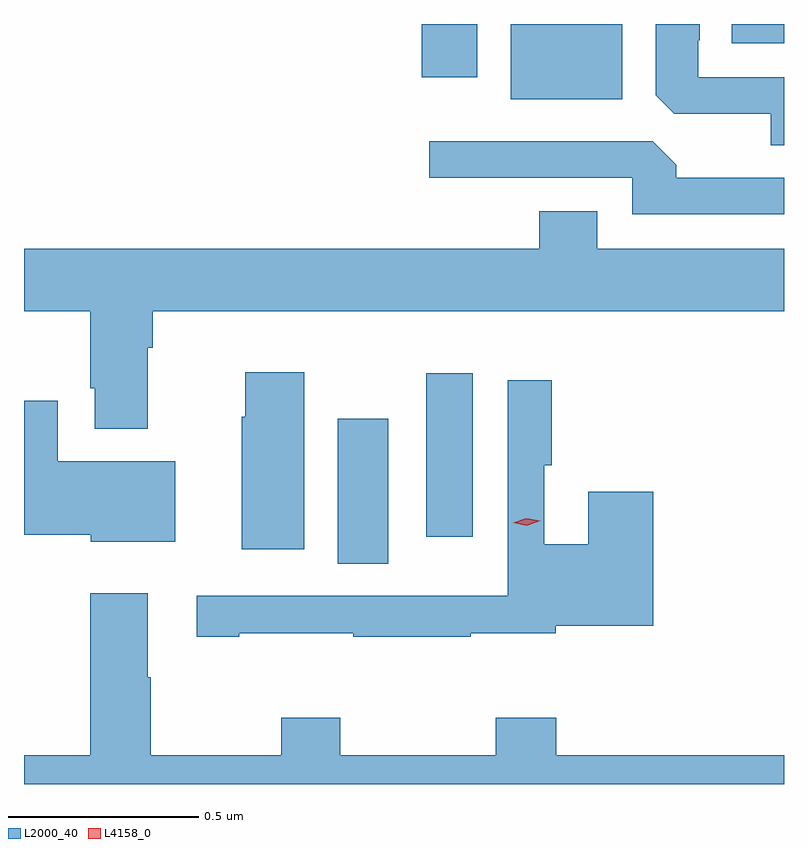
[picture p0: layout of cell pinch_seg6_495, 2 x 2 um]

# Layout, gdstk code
import gdstk
lib = gdstk.Library(unit=1e-6, precision=1e-09)
def R(c, l, rs):  # rectangles x0, y0, x1, y1
    for r in rs: c.add(gdstk.rectangle(r[:2], r[2:], *l))
def P(c, l, *ps):  # polygons
    for p in ps: c.add(gdstk.Polygon(p, *l))
L2000_40 = (2000, 40)
L4158_0 = (4158, 0)

pinch_seg6_495 = lib.new_cell('pinch_seg6_495')
R(pinch_seg6_495, L2000_40, [(832.016,944.008,832.15,944.389), (832.25,944.079,832.372,944.509), (832.472,945.23,832.765,945.428), (832.238,945.288,832.384,945.428), (833.054,945.377,833.191,945.428)])
P(pinch_seg6_495, L2000_40, [(833.191,945.288),(832.965,945.288),(832.965,945.385),(832.969,945.385),(832.969,945.428),(832.853,945.428),(832.853,945.241),(832.902,945.192),(833.156,945.192),(833.156,945.109),(833.191,945.109)],
  [(833.191,945.024),(832.907,945.024),(832.907,945.058),(832.845,945.12),(832.257,945.12),(832.257,945.024),(832.791,945.024),(832.791,944.928),(833.191,944.928)],
  [(831.517,944.576),(831.53,944.576),(831.53,944.672),(833.191,944.672),(833.191,944.836),(832.699,944.836),(832.699,944.935),(832.547,944.935),(832.547,944.836),(831.191,944.836),(831.191,944.672),(831.365,944.672),(831.365,944.47),(831.377,944.47),(831.377,944.363),(831.517,944.363)],
  [(831.928,944.512),(831.773,944.512),(831.773,944.394),(831.764,944.394),(831.764,944.046),(831.928,944.046)],
  [(831.757,943.825),(832.057,943.825),(832.057,943.815),(832.367,943.815),(832.367,943.825),(832.59,943.825),(832.59,943.844),(832.847,943.844),(832.847,944.197),(832.676,944.197),(832.676,944.059),(832.56,944.059),(832.56,944.267),(832.58,944.267),(832.58,944.491),(832.464,944.491),(832.464,943.924),(832.254,943.924),(832.254,943.923),(831.645,943.923),(831.645,943.815),(831.757,943.815)],
  [(831.589,944.278),(831.28,944.278),(831.28,944.437),(831.191,944.437),(831.191,944.084),(831.366,944.084),(831.366,944.066),(831.589,944.066)],
  [(833.191,943.504),(832.592,943.504),(832.592,943.603),(832.432,943.603),(832.432,943.504),(832.023,943.504),(832.023,943.603),(831.868,943.603),(831.868,943.504),(831.525,943.504),(831.525,943.709),(831.517,943.709),(831.517,943.93),(831.365,943.93),(831.365,943.504),(831.191,943.504),(831.191,943.428),(833.191,943.428)])
P(pinch_seg6_495, L4158_0, [(832.514,944.108),(832.478,944.115),(832.478,944.115),(832.478,944.115),(832.513,944.128),(832.549,944.121),(832.55,944.121),(832.549,944.121)])

lib.write_gds('pinch_seg6_495.gds')
